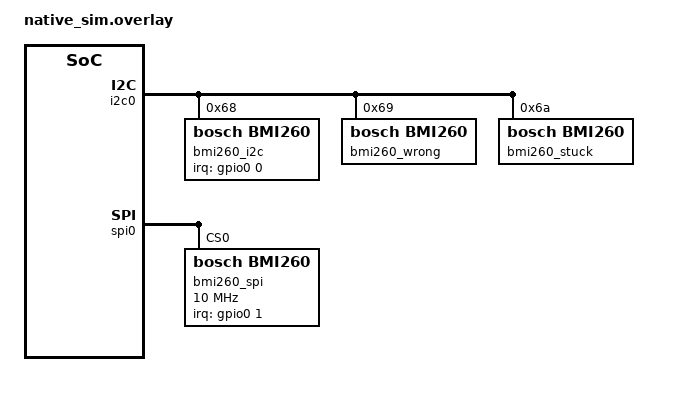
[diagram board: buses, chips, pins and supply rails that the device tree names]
/*
 * Copyright (c) 2026 Shreyas Acharya
 *
 * SPDX-License-Identifier: Apache-2.0
 */

#include <zephyr/dt-bindings/gpio/gpio.h>

/* native_sim already provides emulated i2c0, spi0 and gpio0 controllers. */

&i2c0 {
	bmi260_i2c: bmi260@68 {
		compatible = "bosch,bmi260";
		reg = <0x68>;
		irq-gpios = <&gpio0 0 GPIO_ACTIVE_HIGH>;
	};

	/*
	 * Stands in for a part that answers with the wrong chip identifier.
	 * Initialization is deferred so a test can set the identifier before
	 * the driver reads it.
	 */
	bmi260_wrong: bmi260@69 {
		compatible = "bosch,bmi260";
		reg = <0x69>;
		zephyr,deferred-init;
	};

	/*
	 * Stands in for a part whose feature engine never reports that it
	 * started. Initialization is deferred so a test can arrange that
	 * before the driver polls for it.
	 */
	bmi260_stuck: bmi260@6a {
		compatible = "bosch,bmi260";
		reg = <0x6a>;
		zephyr,deferred-init;
	};
};

&spi0 {
	bmi260_spi: bmi260@0 {
		compatible = "bosch,bmi260";
		reg = <0>;
		spi-max-frequency = <10000000>;
		irq-gpios = <&gpio0 1 GPIO_ACTIVE_HIGH>;
	};
};
